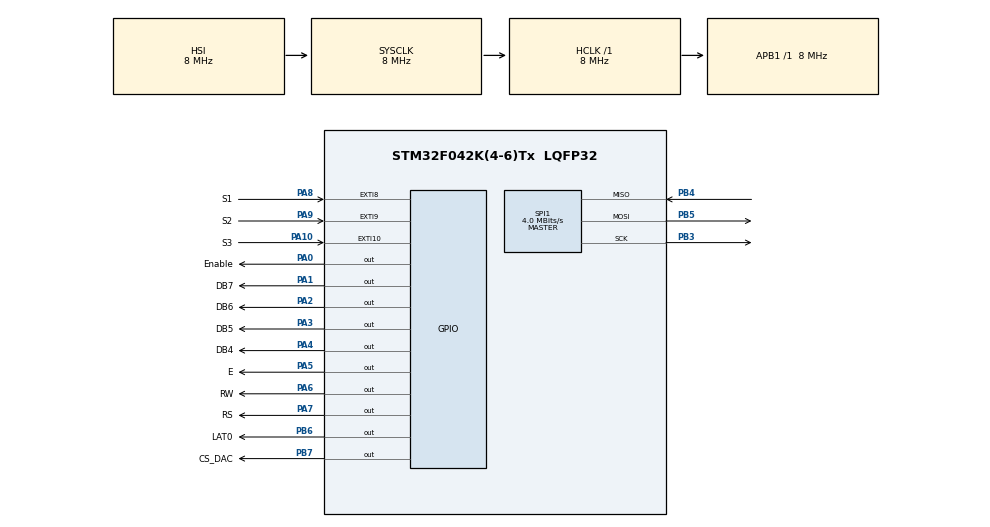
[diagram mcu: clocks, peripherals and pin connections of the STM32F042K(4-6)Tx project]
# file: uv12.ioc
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Mcu.Family=STM32F0
RTC.Alarm=RTC_ALARM_A
SPI1.VirtualType=VM_MASTER
PA0.GPIO_Label=Enable
VP_RTC_VS_RTC_Activate.Mode=RTC_Enabled
PA6.GPIO_Label=RW
PB6.GPIO_Label=LAT0
VP_RTC_VS_RTC_Alarm_A_Intern.Mode=Alarm A
ProjectManager.StackSize=0x400
NVIC.RTC_IRQn=true\:0\:0\:false\:false\:true\:true\:true
RTC.SynchPrediv=2000 - 1
SPI1.Direction=SPI_DIRECTION_2LINES
RCC.HCLKFreq_Value=8000000
PB6.Signal=GPIO_Output
SPI1.CalculateBaudRate=4.0 MBits/s
RCC.AHBFreq_Value=8000000
RCC.HSE_VALUE=8192000
PB3.Mode=Full_Duplex_Master
TIM14.Period=1000
RCC.RTCClockSelection=RCC_RTCCLKSOURCE_HSE_DIV32
PB4.Mode=Full_Duplex_Master
PB5.Mode=Full_Duplex_Master
SPI1.DataSize=SPI_DATASIZE_8BIT
PA10.GPIO_Label=S3
RTC.AlarmSubSecondMask=RTC_ALARMSUBSECONDMASK_ALL
RTC.AsynchPrediv=128 - 1
PB7.Signal=GPIO_Output
PA8.Signal=GPXTI8
PA0.Signal=GPIO_Output
PB7.GPIO_Label=CS_DAC
Mcu.Package=LQFP32
PA6.Signal=GPIO_Output
PA8.GPIO_ModeDefaultEXTI=GPIO_MODE_IT_RISING_FALLING
PA10.GPIO_ModeDefaultEXTI=GPIO_MODE_IT_RISING_FALLING
PA0.GPIO_PuPd=GPIO_NOPULL
PA2.GPIO_Label=DB6
PA10.Signal=GPXTI10
VP_RTC_VS_RTC_Calendar.Mode=RTC_Calendar
RCC.APB1TimFreq_Value=8000000
VP_TIM14_VS_ClockSourceINT.Mode=Enable_Timer
PF1-OSC_OUT.Mode=HSE-External-Oscillator
SPI1.BaudRatePrescaler=SPI_BAUDRATEPRESCALER_2
PA4.GPIO_Label=DB4
NVIC.EXTI4_15_IRQn=true\:0\:0\:false\:false\:true\:true\:true
PF1-OSC_OUT.Signal=RCC_OSC_OUT
PB4.Signal=SPI1_MISO
PA3.Signal=GPIO_Output
NVIC.TIM14_IRQn=true\:0\:0\:false\:false\:true\:true\:true
PA9.GPIO_Label=S2
RTC.AlarmMaskDateWeekDay=RTC_ALARMMASK_DATEWEEKDAY
PA9.GPIO_PuPd=GPIO_PULLUP
RTC.AlarmMaskSeconds=RTC_ALARMMASK_SECONDS
PA8.GPIO_Label=S1
RTC.AlarmMaskMinutes=RTC_ALARMMASK_MINUTES
ProjectManager.TargetToolchain=Makefile
PA9.Signal=GPXTI9
RTC.Format=RTC_FORMAT_BIN
PA1.Signal=GPIO_Output
PF0-OSC_IN.Mode=HSE-External-Oscillator
PA5.Signal=GPIO_Output
board=custom
SPI1.Mode=SPI_MODE_MASTER
PA1.GPIO_Label=DB7
Mcu.Name=STM32F042K(4-6)Tx
TIM14.Prescaler=8000 -1
PA2.Signal=GPIO_Output
RTC.AlarmMaskHours=RTC_ALARMMASK_HOURS
PB3.Signal=SPI1_SCK
PA4.Signal=GPIO_Output
RCC.SYSCLKFreq_VALUE=8000000
PB5.Signal=SPI1_MOSI
PA7.GPIO_Label=RS
PA5.GPIO_Label=E
ProjectManager.HeapSize=0x200
PA9.GPIO_ModeDefaultEXTI=GPIO_MODE_IT_RISING_FALLING
PF0-OSC_IN.Signal=RCC_OSC_IN
RCC.APB1Freq_Value=8000000
PA3.GPIO_Label=DB5
PA7.Signal=GPIO_Output

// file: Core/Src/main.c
/* USER CODE BEGIN Header */
/**
  ******************************************************************************
  * @file           : main.c
  * @brief          : Main program body
  ******************************************************************************
  * @attention
  *
  * <h2><center>&copy; Copyright (c) 2020 STMicroelectronics.
  * All rights reserved.</center></h2>
  *
  * This software component is licensed by ST under BSD 3-Clause license,
  * the "License"; You may not use this file except in compliance with the
  * License. You may obtain a copy of the License at:
  *                        opensource.org/licenses/BSD-3-Clause
  *
  ******************************************************************************
  */
/* USER CODE END Header */
#include "main.h"

/* USER CODE BEGIN Includes */
/* #include "animation.h" */
#include "mcp48fvb.h"
#include "oled0010.h"
/* USER CODE END Includes */

RTC_HandleTypeDef hrtc;

SPI_HandleTypeDef hspi1;

TIM_HandleTypeDef htim14;

/* USER CODE BEGIN PV */
mcp48fvb_t mcp = {
    &hspi1,
    CS_DAC_GPIO_Port, CS_DAC_Pin,
    LAT0_GPIO_Port, LAT0_Pin
};

uint16_t db_pins[8] = { 0, 0, 0, 0, DB4_Pin, DB5_Pin, DB6_Pin, DB7_Pin };
oled0010_t oled = {
    RS_GPIO_Port, RS_Pin,
    RW_GPIO_Port, RW_Pin,
    E_GPIO_Port, E_Pin,
    DB4_GPIO_Port, db_pins,
    0
};

state_t state = { STATE_SPLASH, UVMODE_A, UPDATE_NONE,
    0, DAC_MIN,
    0, 0, DOSE_STEP_SIZE, 0 };

char strbuf[16];
const char dose_units[] = "J/m"
                          "\x1e";
uint8_t len_dose_units = 4;
const char rate_units[] = "W/m"
                          "\x1e";
uint8_t len_rate_units = 4;

/* USER CODE END PV */

void SystemClock_Config(void);
static void MX_GPIO_Init(void);
static void MX_SPI1_Init(void);
static void MX_TIM14_Init(void);
static void MX_RTC_Init(void);

/* USER CODE BEGIN 0 */

void get_time_string(char* str, RTC_TimeTypeDef* t)
{
    str[0] = (t->Minutes >> 4) + '0';
    str[1] = (t->Minutes & 0x0f) + '0';
    str[2] = ':';
    str[3] = (t->Seconds >> 4) + '0';
    str[4] = (t->Seconds & 0x0f) + '0';
}

uint8_t get_seconds_string(char* str, uint16_t seconds)
{
    uint8_t h = seconds / 3600;
    uint8_t m = (seconds / 60) % 60;
    uint8_t s = seconds % 60;

    uint8_t i = 0;
    str[i++] = h / 10 + '0';
    str[i++] = h % 10 + '0';
    str[i++] = ':';
    str[i++] = m / 10 + '0';
    str[i++] = m % 10 + '0';
    str[i++] = ':';
    str[i++] = s / 10 + '0';
    str[i++] = s % 10 + '0';
    str[i] = '\0';
    return i;
}

uint8_t get_int_string(char* str, uint32_t n)
{
    uint8_t i = 0;

    // Get string last digit first
    do {
        str[i++] = n % 10 + '0';
    } while (((n /= 10) > 0));

    uint8_t l = i;
    i -= 1;

    // Reverse the string
    char t;
    for (uint8_t j = 0; j < i; ++j, --i) {
        t = str[j];
        str[j] = str[i];
        str[i] = t;
    }
    str[l] = '\0';

    return l;
}

uint8_t get_decimal_string(char* str, uint32_t n, uint8_t decimals)
{
    uint16_t d = 1;
    for (uint8_t i = 0; i < decimals; ++i) {
        d *= 10;
    }

    uint8_t l = get_int_string(str, n / d);
    str[l++] = '.';

    uint8_t l2 = get_int_string(str + l, n % d);
    for (uint8_t i = 0; i < decimals - l2; ++i) {
        for (uint8_t j = l + decimals; j > l; --j) {
            str[j] = str[j - 1];
        }
        str[l + i] = '0';
    }
    // Terminate overlong strings
    str[l + decimals] = '\0';

    return l + decimals;
}

void oled_pad(oled0010_t* oled, uint8_t n)
{
    while (n-- > 0) {
        oled_print_char(oled, ' ');
    }
}

void print_splash(oled0010_t* oled)
{
    oled_move_cursor(oled, 0, 0);
    oled_print(oled, "\x1d"
                     "Cell Destroyer"
                     "\x1d");
    oled_move_cursor(oled, 10, 1);
    oled_print(oled, "v0.2.2");
}

void print_uv_select(oled0010_t* oled, enum UVMODE mode)
{
    oled_move_cursor(oled, 0, 0);
    oled_print(oled, "Select Module");
    oled_move_cursor(oled, 15, 0);
    oled_print_char(oled, '\xc5');

    oled_move_cursor(oled, 0, 1);
    oled_print(oled, mode == UVMODE_A ? "UVA" : (mode == UVMODE_B ? "UVB" : "UVC"));
    oled_print(oled, " Module");
    oled_move_cursor(oled, 15, 1);
    oled_print_char(oled, '\xc6');
}

void print_dose_select(oled0010_t* oled, uint32_t dose)
{
    uint8_t len = get_int_string(strbuf, dose / 1000);

    oled_move_cursor(oled, 0, 0);
    oled_print(oled, "Total Dose");
    oled_move_cursor(oled, 15, 0);
    oled_print_char(oled, '\xc5');

    oled_move_cursor(oled, 0, 1);
    oled_pad(oled, 15 - len - (len_dose_units + 1));
    oled_print(oled, strbuf);
    oled_print_char(oled, ' ');
    oled_print(oled, (char*)dose_units);

    oled_move_cursor(oled, 15, 1);
    oled_print_char(oled, '\xc6');
}

void print_rate_select(oled0010_t* oled, uint32_t rate)
{
    uint32_t len = get_decimal_string(strbuf, rate, 3);

    oled_move_cursor(oled, 0, 0);
    oled_print(oled, "Dose Rate");
    oled_move_cursor(oled, 15, 0);
    oled_print_char(oled, '\xc5');

    oled_move_cursor(oled, 0, 1);
    oled_pad(oled, 15 - len - (len_dose_units + 1));
    oled_print(oled, strbuf);
    oled_print_char(oled, ' ');
    oled_print(oled, (char*)rate_units);

    oled_move_cursor(oled, 15, 1);
    oled_print_char(oled, '\xc6');
}

void print_main(oled0010_t* oled, char sym, enum UVMODE mode, uint32_t seconds, uint32_t delivered)
{
    uint8_t len = get_seconds_string(strbuf, seconds);
    oled_move_cursor(oled, 0, 0);
    oled_print(oled, mode == UVMODE_A ? "UVA" : (mode == UVMODE_B ? "UVB" : "UVC"));
    oled_move_cursor(oled, 4, 0);
    oled_print_char(oled, sym);
    oled_move_cursor(oled, 16 - len, 0);
    oled_print(oled, strbuf);

    len = get_decimal_string(strbuf, delivered, 3);
    oled_move_cursor(oled, 0, 1);
    oled_pad(oled, 15 - len - len_dose_units);
    oled_print(oled, strbuf);
    oled_print_char(oled, ' ');
    oled_print(oled, (char*)dose_units);
}

/* USER CODE END 0 */

int main(void)
{

    /* MCU Configuration--------------------------------------------------------*/

    /* Reset of all peripherals, Initializes the Flash interface and the Systick. */
    HAL_Init();

    /* Configure the system clock */
    SystemClock_Config();

    /* Initialize all configured peripherals */
    MX_GPIO_Init();
    MX_SPI1_Init();
    MX_TIM14_Init();
    MX_RTC_Init();
    /* USER CODE BEGIN 2 */
    // Disable interrupts
    HAL_NVIC_DisableIRQ(RTC_IRQn);
    HAL_NVIC_DisableIRQ(EXTI4_15_IRQn);

    // Ensure that the UV is not enabled
    HAL_GPIO_WritePin(Enable_GPIO_Port, Enable_Pin, GPIO_PIN_RESET);

    // Init the DAC
    HAL_Delay(50);
    mcp_init(&mcp, MCP_VREF_GAP, MCP_PWRD_NORM, MCP_GAIN_1X);
    mcp_set_dac(&mcp, DAC_MAX);

    // Start the display
    oled_init(&oled,
        OLED_FS_4BIT | OLED_FS_2LINES | OLED_FS_FONT_SMALL | OLED_FS_FONT_WEST_EUR2,
        OLED_DC_BLINK_OFF | OLED_DC_CURSOR_OFF,
        OLED_EM_INC | OLED_EM_DISP_SHIFT_OFF);

    // Print welcome message
    print_splash(&oled);

    // Reenable the button interrupts
    HAL_NVIC_EnableIRQ(RTC_IRQn);
    HAL_NVIC_EnableIRQ(EXTI4_15_IRQn);
    /* USER CODE END 2 */

    /* Infinite loop */
    /* USER CODE BEGIN WHILE */
    while (1) {
        /* HAL_NVIC_DisableIRQ(RTC_IRQn); */
        if (state.update & UPDATE_DISPLAY) {
            oled_clear_display(&oled);
            state.update &= ~UPDATE_DISPLAY;
        }
        if (state.update & UPDATE_DAC) {
            mcp_set_dac(&mcp, state.dac);
            state.update &= ~UPDATE_DAC;
        }
        if (state.update & UPDATE_ENABLE) {
            HAL_GPIO_WritePin(Enable_GPIO_Port, Enable_Pin,
                state.enabled ? GPIO_PIN_SET : GPIO_PIN_RESET);
            state.update &= ~UPDATE_ENABLE;
        }

        switch (state.display) {
        case STATE_UV_SELECT:
            print_uv_select(&oled, state.mode);
            break;
        case STATE_DOSE_SELECT:
            print_dose_select(&oled, state.dose);
            break;
        case STATE_RATE_SELECT:
            print_rate_select(&oled, state.rate);
            break;
        case STATE_PAUSED:
            print_main(&oled, '=', state.mode, state.remaining, state.delivered);
            break;
        case STATE_RUNNING:
            print_main(&oled, '\xf6', state.mode, state.remaining, state.delivered);
            break;
        case STATE_FINISHED:
            print_main(&oled, '\xfe', state.mode, state.remaining, state.delivered);
            break;
        default:
            break;
        }

        /* USER CODE END WHILE */

        /* USER CODE BEGIN 3 */
        /* HAL_NVIC_EnableIRQ(RTC_IRQn); */
        HAL_SuspendTick();
        HAL_PWR_EnterSLEEPMode(PWR_LOWPOWERREGULATOR_ON, PWR_SLEEPENTRY_WFE);
        HAL_ResumeTick();
    }
    /* USER CODE END 3 */
}

void SystemClock_Config(void)
{
    RCC_OscInitTypeDef RCC_OscInitStruct = { 0 };
    RCC_ClkInitTypeDef RCC_ClkInitStruct = { 0 };
    RCC_PeriphCLKInitTypeDef PeriphClkInit = { 0 };

    /** Initializes the RCC Oscillators according to the specified parameters
  * in the RCC_OscInitTypeDef structure.
  */
    RCC_OscInitStruct.OscillatorType = RCC_OSCILLATORTYPE_HSI | RCC_OSCILLATORTYPE_HSE;
    RCC_OscInitStruct.HSEState = RCC_HSE_ON;
    RCC_OscInitStruct.HSIState = RCC_HSI_ON;
    RCC_OscInitStruct.HSICalibrationValue = RCC_HSICALIBRATION_DEFAULT;
    RCC_OscInitStruct.PLL.PLLState = RCC_PLL_NONE;
    if (HAL_RCC_OscConfig(&RCC_OscInitStruct) != HAL_OK) {
        Error_Handler();
    }
    /** Initializes the CPU, AHB and APB buses clocks
  */
    RCC_ClkInitStruct.ClockType = RCC_CLOCKTYPE_HCLK | RCC_CLOCKTYPE_SYSCLK
        | RCC_CLOCKTYPE_PCLK1;
    RCC_ClkInitStruct.SYSCLKSource = RCC_SYSCLKSOURCE_HSI;
    RCC_ClkInitStruct.AHBCLKDivider = RCC_SYSCLK_DIV1;
    RCC_ClkInitStruct.APB1CLKDivider = RCC_HCLK_DIV1;

    if (HAL_RCC_ClockConfig(&RCC_ClkInitStruct, FLASH_LATENCY_0) != HAL_OK) {
        Error_Handler();
    }
    PeriphClkInit.PeriphClockSelection = RCC_PERIPHCLK_RTC;
    PeriphClkInit.RTCClockSelection = RCC_RTCCLKSOURCE_HSE_DIV32;
    if (HAL_RCCEx_PeriphCLKConfig(&PeriphClkInit) != HAL_OK) {
        Error_Handler();
    }
}

static void MX_RTC_Init(void)
{

    RTC_TimeTypeDef sTime = { 0 };
    RTC_DateTypeDef sDate = { 0 };
    RTC_AlarmTypeDef sAlarm = { 0 };

    /* USER CODE BEGIN RTC_Init 1 */
    // Predivs calced from a 15 min run
    // 124
    // 307.17
    /* USER CODE END RTC_Init 1 */
    /** Initialize RTC Only
  */
    hrtc.Instance = RTC;
    hrtc.Init.HourFormat = RTC_HOURFORMAT_24;
    hrtc.Init.AsynchPrediv = 128 - 1;
    hrtc.Init.SynchPrediv = 2000 - 1;
    hrtc.Init.OutPut = RTC_OUTPUT_DISABLE;
    hrtc.Init.OutPutPolarity = RTC_OUTPUT_POLARITY_HIGH;
    hrtc.Init.OutPutType = RTC_OUTPUT_TYPE_OPENDRAIN;
    if (HAL_RTC_Init(&hrtc) != HAL_OK) {
        Error_Handler();
    }

    /** Initialize RTC and set the Time and Date
  */
    sTime.Hours = 0;
    sTime.Minutes = 0;
    sTime.Seconds = 0;
    sTime.DayLightSaving = RTC_DAYLIGHTSAVING_NONE;
    sTime.StoreOperation = RTC_STOREOPERATION_RESET;
    if (HAL_RTC_SetTime(&hrtc, &sTime, RTC_FORMAT_BIN) != HAL_OK) {
        Error_Handler();
    }
    sDate.WeekDay = RTC_WEEKDAY_MONDAY;
    sDate.Month = RTC_MONTH_JANUARY;
    sDate.Date = 1;
    sDate.Year = 0;

    if (HAL_RTC_SetDate(&hrtc, &sDate, RTC_FORMAT_BIN) != HAL_OK) {
        Error_Handler();
    }
    /** Enable the Alarm A
  */
    sAlarm.AlarmTime.Hours = 0;
    sAlarm.AlarmTime.Minutes = 0;
    sAlarm.AlarmTime.Seconds = 0;
    sAlarm.AlarmTime.SubSeconds = 0;
    sAlarm.AlarmTime.DayLightSaving = RTC_DAYLIGHTSAVING_NONE;
    sAlarm.AlarmTime.StoreOperation = RTC_STOREOPERATION_RESET;
    sAlarm.AlarmMask = RTC_ALARMMASK_ALL;
    sAlarm.AlarmSubSecondMask = RTC_ALARMSUBSECONDMASK_ALL;
    sAlarm.AlarmDateWeekDaySel = RTC_ALARMDATEWEEKDAYSEL_DATE;
    sAlarm.AlarmDateWeekDay = 1;
    sAlarm.Alarm = RTC_ALARM_A;
    if (HAL_RTC_SetAlarm_IT(&hrtc, &sAlarm, RTC_FORMAT_BIN) != HAL_OK) {
        Error_Handler();
    }
}

static void MX_SPI1_Init(void)
{

    /* SPI1 parameter configuration*/
    hspi1.Instance = SPI1;
    hspi1.Init.Mode = SPI_MODE_MASTER;
    hspi1.Init.Direction = SPI_DIRECTION_2LINES;
    hspi1.Init.DataSize = SPI_DATASIZE_8BIT;
    hspi1.Init.CLKPolarity = SPI_POLARITY_LOW;
    hspi1.Init.CLKPhase = SPI_PHASE_1EDGE;
    hspi1.Init.NSS = SPI_NSS_SOFT;
    hspi1.Init.BaudRatePrescaler = SPI_BAUDRATEPRESCALER_2;
    hspi1.Init.FirstBit = SPI_FIRSTBIT_MSB;
    hspi1.Init.TIMode = SPI_TIMODE_DISABLE;
    hspi1.Init.CRCCalculation = SPI_CRCCALCULATION_DISABLE;
    hspi1.Init.CRCPolynomial = 7;
    hspi1.Init.CRCLength = SPI_CRC_LENGTH_DATASIZE;
    hspi1.Init.NSSPMode = SPI_NSS_PULSE_ENABLE;
    if (HAL_SPI_Init(&hspi1) != HAL_OK) {
        Error_Handler();
    }
}

static void MX_TIM14_Init(void)
{

    htim14.Instance = TIM14;
    htim14.Init.Prescaler = 8000 - 1;
    htim14.Init.CounterMode = TIM_COUNTERMODE_UP;
    htim14.Init.Period = 1000;
    htim14.Init.ClockDivision = TIM_CLOCKDIVISION_DIV1;
    htim14.Init.AutoReloadPreload = TIM_AUTORELOAD_PRELOAD_DISABLE;
    if (HAL_TIM_Base_Init(&htim14) != HAL_OK) {
        Error_Handler();
    }
}

static void MX_GPIO_Init(void)
{
    GPIO_InitTypeDef GPIO_InitStruct = { 0 };

    /* GPIO Ports Clock Enable */
    __HAL_RCC_GPIOF_CLK_ENABLE();
    __HAL_RCC_GPIOA_CLK_ENABLE();
    __HAL_RCC_GPIOB_CLK_ENABLE();

    /*Configure GPIO pin Output Level */
    HAL_GPIO_WritePin(GPIOA, Enable_Pin | DB7_Pin | DB6_Pin | DB5_Pin | DB4_Pin | E_Pin | RW_Pin | RS_Pin, GPIO_PIN_RESET);

    /*Configure GPIO pin Output Level */
    HAL_GPIO_WritePin(GPIOB, LAT0_Pin | CS_DAC_Pin, GPIO_PIN_RESET);

    /*Configure GPIO pins : Enable_Pin DB7_Pin DB6_Pin DB5_Pin
                           DB4_Pin E_Pin RW_Pin RS_Pin */
    GPIO_InitStruct.Pin = Enable_Pin | DB7_Pin | DB6_Pin | DB5_Pin
        | DB4_Pin | E_Pin | RW_Pin | RS_Pin;
    GPIO_InitStruct.Mode = GPIO_MODE_OUTPUT_PP;
    GPIO_InitStruct.Pull = GPIO_NOPULL;
    GPIO_InitStruct.Speed = GPIO_SPEED_FREQ_LOW;
    HAL_GPIO_Init(GPIOA, &GPIO_InitStruct);

    /*Configure GPIO pins : S1_Pin S3_Pin */
    GPIO_InitStruct.Pin = S1_Pin | S3_Pin;
    GPIO_InitStruct.Mode = GPIO_MODE_IT_RISING_FALLING;
    GPIO_InitStruct.Pull = GPIO_NOPULL;
    HAL_GPIO_Init(GPIOA, &GPIO_InitStruct);

    /*Configure GPIO pin : S2_Pin */
    GPIO_InitStruct.Pin = S2_Pin;
    GPIO_InitStruct.Mode = GPIO_MODE_IT_RISING_FALLING;
    GPIO_InitStruct.Pull = GPIO_PULLUP;
    HAL_GPIO_Init(S2_GPIO_Port, &GPIO_InitStruct);

    /*Configure GPIO pins : LAT0_Pin CS_DAC_Pin */
    GPIO_InitStruct.Pin = LAT0_Pin | CS_DAC_Pin;
    GPIO_InitStruct.Mode = GPIO_MODE_OUTPUT_PP;
    GPIO_InitStruct.Pull = GPIO_NOPULL;
    GPIO_InitStruct.Speed = GPIO_SPEED_FREQ_LOW;
    HAL_GPIO_Init(GPIOB, &GPIO_InitStruct);

    /* EXTI interrupt init*/
    HAL_NVIC_SetPriority(EXTI4_15_IRQn, 0, 0);
    HAL_NVIC_EnableIRQ(EXTI4_15_IRQn);
}

void Error_Handler(void)
{
    /* USER CODE BEGIN Error_Handler_Debug */
    /* User can add his own implementation to report the HAL error return state */
    mcp_set_dac(&mcp, DAC_MAX);

    while (1) {
        HAL_GPIO_WritePin(DB4_GPIO_Port, DB4_Pin, GPIO_PIN_SET);
        HAL_Delay(100);
        HAL_GPIO_WritePin(DB4_GPIO_Port, DB4_Pin, GPIO_PIN_RESET);
        HAL_Delay(100);
        HAL_GPIO_WritePin(DB4_GPIO_Port, DB4_Pin, GPIO_PIN_SET);
        HAL_Delay(100);
        HAL_GPIO_WritePin(DB4_GPIO_Port, DB4_Pin, GPIO_PIN_RESET);
        HAL_Delay(900);
    }
    /* USER CODE END Error_Handler_Debug */
}

/************************ (C) COPYRIGHT STMicroelectronics *****END OF FILE****/
